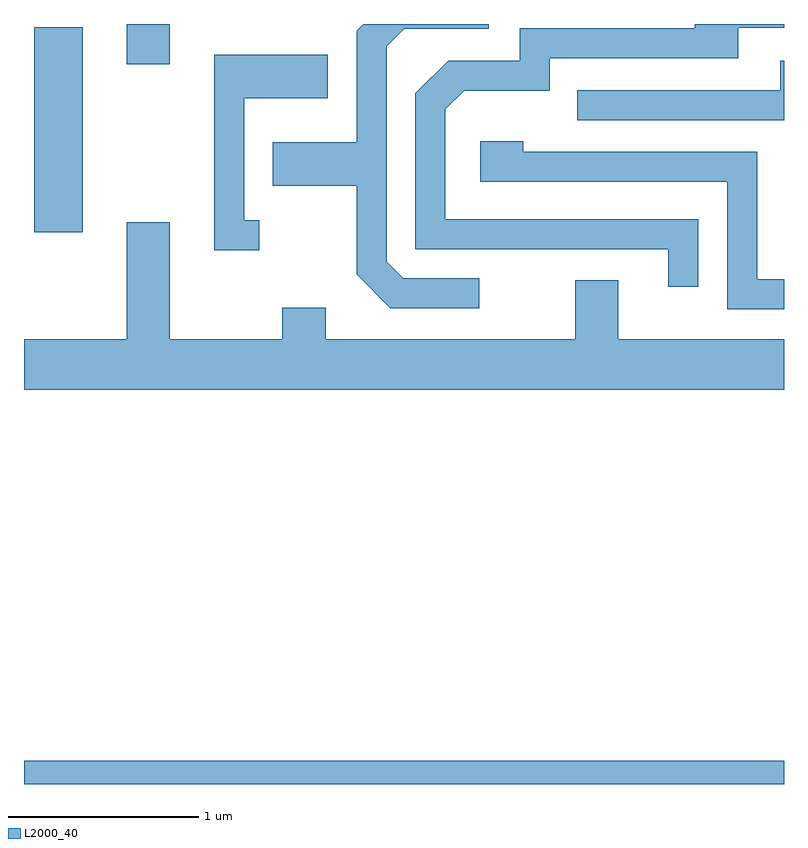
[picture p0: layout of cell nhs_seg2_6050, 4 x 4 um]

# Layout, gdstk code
import gdstk
lib = gdstk.Library(unit=1e-6, precision=1e-09)
def R(c, l, rs):  # rectangles x0, y0, x1, y1
    for r in rs: c.add(gdstk.rectangle(r[:2], r[2:], *l))
def P(c, l, *ps):  # polygons
    for p in ps: c.add(gdstk.Polygon(p, *l))
L2000_40 = (2000, 40)

nhs_seg2_6050 = lib.new_cell('nhs_seg2_6050')
R(nhs_seg2_6050, L2000_40, [(363.611,1041.802,367.611,1041.924), (363.666,1044.706,363.919,1045.784), (364.151,1045.591,364.379,1045.802)])
P(nhs_seg2_6050, L2000_40, [(366.008,1044.464),(365.607,1044.464),(365.519,1044.552),(365.519,1045.684),(365.612,1045.776),(366.058,1045.776),(366.058,1045.802),(365.396,1045.802),(365.361,1045.767),(365.361,1045.179),(364.921,1045.179),(364.921,1044.951),(365.361,1044.951),(365.361,1044.484),(365.539,1044.306),(366.008,1044.306)],
  [(367.159,1044.774),(365.829,1044.774),(365.829,1045.353),(365.927,1045.451),(366.379,1045.451),(366.379,1045.621),(367.369,1045.621),(367.369,1045.781),(367.611,1045.781),(367.611,1045.802),(367.141,1045.802),(367.141,1045.779),(366.221,1045.779),(366.221,1045.609),(365.844,1045.609),(365.671,1045.437),(365.671,1044.616),(367.001,1044.616),(367.001,1044.418),(367.159,1044.418)],
  [(364.848,1044.769),(364.769,1044.769),(364.769,1045.411),(365.209,1045.411),(365.209,1045.639),(364.611,1045.639),(364.611,1044.611),(364.848,1044.611)],
  [(367.611,1045.609),(367.591,1045.609),(367.591,1045.454),(366.523,1045.454),(366.523,1045.296),(367.611,1045.296)],
  [(367.611,1044.459),(367.469,1044.459),(367.469,1045.129),(366.239,1045.129),(366.239,1045.184),(366.011,1045.184),(366.011,1044.971),(367.311,1044.971),(367.311,1044.301),(367.611,1044.301)],
  [(367.611,1044.144),(366.739,1044.144),(366.739,1044.454),(366.511,1044.454),(366.511,1044.144),(365.199,1044.144),(365.199,1044.309),(364.971,1044.309),(364.971,1044.144),(364.379,1044.144),(364.379,1044.759),(364.151,1044.759),(364.151,1044.144),(363.611,1044.144),(363.611,1043.876),(367.611,1043.876)])

lib.write_gds('nhs_seg2_6050.gds')
